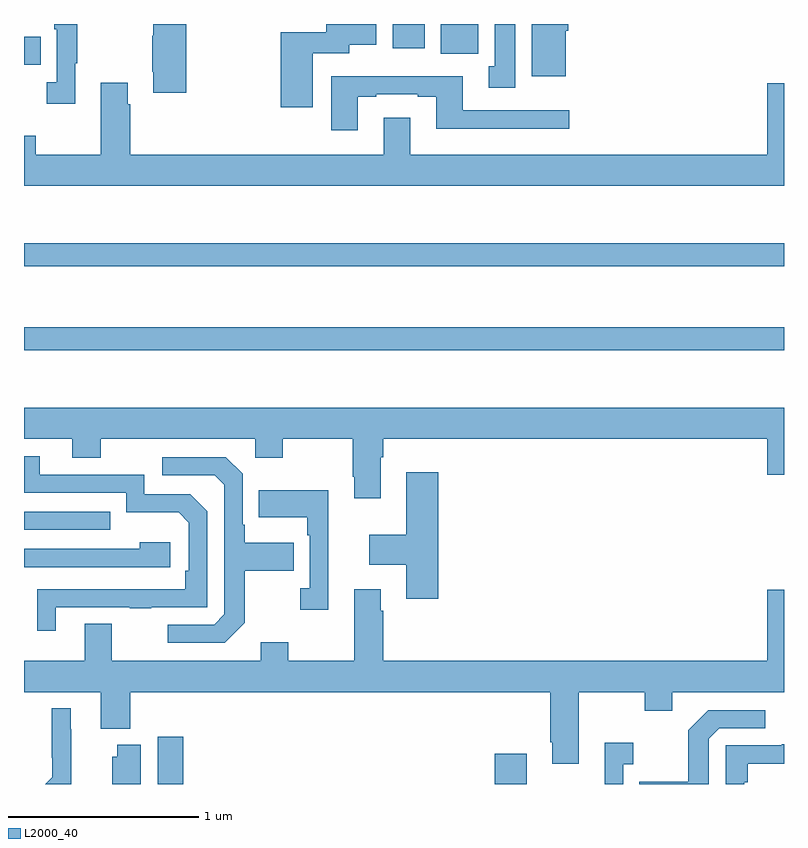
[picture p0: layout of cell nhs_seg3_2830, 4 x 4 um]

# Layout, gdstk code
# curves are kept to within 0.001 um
import gdstk
lib = gdstk.Library(unit=1e-6, precision=1e-09)
def R(c, l, rs):  # rectangles x0, y0, x1, y1
    for r in rs: c.add(gdstk.rectangle(r[:2], r[2:], *l))
def P(c, l, *ps):  # polygons
    for p in ps: c.add(gdstk.Polygon(p, *l))
L2000_40 = (2000, 40)

nhs_seg3_2830 = lib.new_cell('nhs_seg3_2830')
R(nhs_seg3_2830, L2000_40, [(257.705,732.4,257.837,732.649), (259.478,732.4,259.645,732.559), (257,733.737,257.453,733.833), (257,734.682,261,734.803), (257,735.126,261,735.247), (257,736.186,257.087,736.333), (259.193,736.244,259.39,736.4), (258.941,736.272,259.108,736.4)])
P(nhs_seg3_2830, L2000_40, [(258.52,736.247),(258.712,736.247),(258.712,736.292),(258.853,736.292),(258.853,736.4),(258.59,736.4),(258.59,736.357),(258.35,736.357),(258.35,735.963),(258.52,735.963)],
  [(257.269,736.193),(257.281,736.193),(257.281,736.4),(257.16,736.4),(257.16,736.373),(257.172,736.373),(257.172,736.094),(257.121,736.094),(257.121,735.981),(257.269,735.981)],
  [(259.585,736.4),(259.478,736.4),(259.478,736.178),(259.445,736.178),(259.445,736.065),(259.585,736.065)],
  [(259.852,736.364),(259.865,736.364),(259.865,736.4),(259.673,736.4),(259.673,736.124),(259.852,736.124)],
  [(257.854,736.4),(257.681,736.4),(257.681,736.339),(257.674,736.339),(257.674,736.15),(257.681,736.15),(257.681,736.038),(257.854,736.038)],
  [(258.757,736.017),(258.853,736.017),(258.853,736.029),(259.073,736.029),(259.073,736.017),(259.169,736.017),(259.169,735.848),(259.87,735.848),(259.87,735.945),(259.309,735.945),(259.309,736.126),(258.617,736.126),(258.617,735.84),(258.757,735.84)],
  [(261,736.087),(260.912,736.087),(260.912,735.712),(259.033,735.712),(259.033,735.907),(258.893,735.907),(258.893,735.712),(257.558,735.712),(257.558,735.977),(257.545,735.977),(257.545,736.09),(257.405,736.09),(257.405,735.712),(257.061,735.712),(257.061,735.811),(257,735.811),(257,735.548),(261,735.548)],
  [(258.877,734.12),(258.89,734.12),(258.89,734.216),(260.912,734.216),(260.912,734.028),(261,734.028),(261,734.38),(257,734.38),(257,734.216),(257.255,734.216),(257.255,734.117),(257.403,734.117),(257.403,734.216),(258.216,734.216),(258.216,734.117),(258.363,734.117),(258.363,734.216),(258.73,734.216),(258.73,734.017),(258.737,734.017),(258.737,733.905),(258.877,733.905)],
  [(257.167,733.329),(257.557,733.329),(257.557,733.324),(257.669,733.324),(257.669,733.329),(257.964,733.329),(257.964,733.836),(257.874,733.926),(257.634,733.926),(257.634,734.028),(257.083,734.028),(257.083,734.124),(257,734.124),(257,733.932),(257.538,733.932),(257.538,733.829),(257.815,733.829),(257.868,733.776),(257.868,733.522),(257.848,733.522),(257.848,733.425),(257.071,733.424),(257.071,733.206),(257.167,733.206)],
  [(258.163,733.249),(258.163,733.522),(258.419,733.522),(258.419,733.669),(258.163,733.669),(258.163,733.765),(258.15,733.765),(258.15,734.034),(258.063,734.121),(257.727,734.121),(257.727,734.025),(258.003,734.025),(258.054,733.974),(258.054,733.293),(258,733.239),(257.757,733.239),(257.757,733.143),(258.057,733.143)],
  [(259.181,734.041),(259.013,734.041),(259.013,733.711),(258.816,733.711),(258.816,733.553),(259.013,733.553),(259.013,733.374),(259.181,733.374)],
  [(258.602,733.945),(258.235,733.945),(258.235,733.805),(258.492,733.805),(258.492,733.709),(258.504,733.709),(258.504,733.43),(258.453,733.43),(258.453,733.317),(258.602,733.317)],
  [(257.77,733.672),(257.609,733.672),(257.609,733.638),(257,733.638),(257,733.542),(257.77,733.542)],
  [(259.921,732.884),(260.266,732.884),(260.266,732.785),(260.413,732.785),(260.413,732.884),(261,732.884),(261,733.423),(260.912,733.423),(260.912,733.048),(258.89,733.048),(258.89,733.313),(258.877,733.313),(258.877,733.426),(258.737,733.426),(258.737,733.048),(258.392,733.048),(258.392,733.147),(258.245,733.147),(258.245,733.048),(257.461,733.048),(257.461,733.243),(257.321,733.243),(257.321,733.048),(257,733.048),(257,732.884),(257.405,732.884),(257.405,732.692),(257.558,732.692),(257.558,732.884),(259.769,732.884),(259.769,732.619),(259.781,732.619),(259.781,732.507),(259.921,732.507)],
  [(257.249,732.689),(257.245,732.689),(257.245,732.799),(257.147,732.799),(257.147,732.538),(257.148,732.538),(257.148,732.436),(257.112,732.4),(257.249,732.4)],
  [(260.604,732.639),(260.658,732.693),(260.902,732.693),(260.902,732.789),(260.601,732.789),(260.496,732.683),(260.496,732.411),(260.239,732.411),(260.239,732.4),(260.604,732.4)],
  [(260.154,732.503),(260.206,732.503),(260.206,732.616),(260.057,732.616),(260.057,732.4),(260.154,732.4)],
  [(260.79,732.41),(260.81,732.41),(260.81,732.507),(261,732.507),(261,732.608),(260.989,732.608),(260.989,732.603),(260.694,732.603),(260.694,732.4),(260.79,732.4)],
  [(257.614,732.607),(257.492,732.607),(257.492,732.543),(257.465,732.543),(257.465,732.4),(257.614,732.4)])

lib.write_gds('nhs_seg3_2830.gds')
